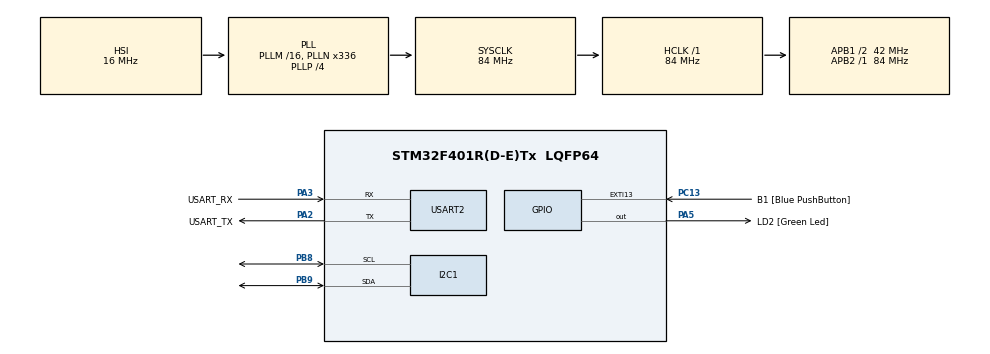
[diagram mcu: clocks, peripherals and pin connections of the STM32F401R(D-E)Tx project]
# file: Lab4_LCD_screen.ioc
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Mcu.Family=STM32F4
Mcu.Name=STM32F401R(D-E)Tx
Mcu.Package=LQFP64
NVIC.PriorityGroup=NVIC_PRIORITYGROUP_0
NVIC.TIM2_IRQn=true\:0\:0\:false\:false\:true\:true\:true\:true
PA13.GPIO_Label=TMS
PA13.Mode=Serial_Wire
PA13.Signal=SYS_JTMS-SWDIO
PA14.GPIO_Label=TCK
PA14.Mode=Serial_Wire
PA14.Signal=SYS_JTCK-SWCLK
PA2.GPIO_Label=USART_TX
PA2.GPIO_Mode=GPIO_MODE_AF_PP
PA2.GPIO_PuPd=GPIO_NOPULL
PA2.GPIO_Speed=GPIO_SPEED_FREQ_LOW
PA2.Mode=Asynchronous
PA2.Signal=USART2_TX
PA3.GPIO_Label=USART_RX
PA3.GPIO_Mode=GPIO_MODE_AF_PP
PA3.GPIO_PuPd=GPIO_NOPULL
PA3.GPIO_Speed=GPIO_SPEED_FREQ_LOW
PA3.Mode=Asynchronous
PA3.Signal=USART2_RX
PA5.GPIO_Label=LD2 [Green Led]
PA5.GPIO_Mode=GPIO_MODE_OUTPUT_PP
PA5.GPIO_PuPd=GPIO_NOPULL
PA5.GPIO_Speed=GPIO_SPEED_FREQ_LOW
PA5.Signal=GPIO_Output
PB3.GPIO_Label=SWO
PB3.Signal=SYS_JTDO-SWO
PB8.Mode=I2C
PB8.Signal=I2C1_SCL
PB9.Mode=I2C
PB9.Signal=I2C1_SDA
PC13-ANTI_TAMP.GPIO_Label=B1 [Blue PushButton]
PC13-ANTI_TAMP.GPIO_ModeDefaultEXTI=GPIO_MODE_IT_FALLING
PC13-ANTI_TAMP.GPIO_PuPd=GPIO_NOPULL
PC13-ANTI_TAMP.Signal=GPXTI13
PC14-OSC32_IN.Mode=LSE-External-Oscillator
PC14-OSC32_IN.Signal=RCC_OSC32_IN
PC15-OSC32_OUT.Mode=LSE-External-Oscillator
PC15-OSC32_OUT.Signal=RCC_OSC32_OUT
PH0\ -\ OSC_IN.Mode=HSE-External-Clock-Source
PH0\ -\ OSC_IN.Signal=RCC_OSC_IN
PH1\ -\ OSC_OUT.Mode=HSE-External-Clock-Source
PH1\ -\ OSC_OUT.Signal=RCC_OSC_OUT
ProjectManager.HeapSize=0x200
ProjectManager.StackSize=0x400
ProjectManager.TargetToolchain=STM32CubeIDE
RCC.48MHZClocksFreq_Value=48000000
RCC.AHBFreq_Value=84000000
RCC.APB1CLKDivider=RCC_HCLK_DIV2
RCC.APB1Freq_Value=42000000
RCC.APB1TimFreq_Value=84000000
RCC.APB2Freq_Value=84000000
RCC.APB2TimFreq_Value=84000000
RCC.CortexFreq_Value=84000000
RCC.HCLKFreq_Value=84000000
RCC.HSE_VALUE=8000000
RCC.HSI_VALUE=16000000
RCC.PLLN=336
RCC.PLLP=RCC_PLLP_DIV4
RCC.PLLQ=7
RCC.SYSCLKFreq_VALUE=84000000
RCC.SYSCLKSource=RCC_SYSCLKSOURCE_PLLCLK
RCC.VCOOutputFreq_Value=336000000
TIM2.Period=84000-1
TIM2.Prescaler=1000-1
TIM5.Period=0xffffffff
TIM5.Prescaler=83
USART2.VirtualMode=VM_ASYNC
VP_TIM2_VS_ClockSourceINT.Mode=Internal
VP_TIM5_VS_ClockSourceINT.Mode=Internal
board=NUCLEO-F401RE

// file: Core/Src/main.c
/* USER CODE BEGIN Header */
/**
  ******************************************************************************
  * @file           : main.c
  * @brief          : Main program body
  ******************************************************************************
  * @attention
  *
  * Copyright (c) 2024 STMicroelectronics.
  * All rights reserved.
  *
  * This software is licensed under terms that can be found in the LICENSE file
  * in the root directory of this software component.
  * If no LICENSE file comes with this software, it is provided AS-IS.
  *
  ******************************************************************************
  */
/* USER CODE END Header */
#include "main.h"

/* USER CODE BEGIN Includes */
#include <string.h>
#include <stdio.h>
#include "lcd.h"

/* USER CODE END Includes */

I2C_HandleTypeDef hi2c1;

TIM_HandleTypeDef htim2;
TIM_HandleTypeDef htim5;

UART_HandleTypeDef huart2;

/* USER CODE BEGIN PV */
TextLCDType hlcd;

/* USER CODE END PV */

void SystemClock_Config(void);
static void MX_GPIO_Init(void);
static void MX_USART2_UART_Init(void);
static void MX_TIM2_Init(void);
static void MX_I2C1_Init(void);
static void MX_TIM5_Init(void);
/* USER CODE BEGIN PFP */
uint8_t tick_flag = 0;
/* USER CODE END PFP */

/* USER CODE BEGIN 0 */
struct clock_data
{
	uint8_t hrs;
	uint8_t min;
	uint8_t sec;

};

void cd_set(struct clock_data * pcd,
			uint8_t hrs,
			uint8_t min,
			uint8_t sec )
{
	pcd->sec = sec;
	pcd->min = min;
	pcd->hrs = hrs;
}

struct clock_data my_clock;

void cd_tick(struct clock_data * pcd)
{
	pcd->sec++;
	if (pcd->sec >= 60)
	{
		pcd->sec = 0;
		pcd->min++;
		if (pcd->min >= 60)
		{
			pcd->min = 0;
			pcd->hrs++;
			if (pcd->hrs >= 24)
			{
				pcd->hrs = 0;
			}
		}
	}

}
void DisplayTimeOnLCD(TextLCDType *hlcd,struct clock_data * pcd )
{
	char timeString[15];
	 snprintf(timeString, sizeof(timeString), "%02d:%02d:%02d",
			 pcd->hrs, pcd->min, pcd->sec);
	TextLCD_Position(hlcd, 4,1);
	TextLCD_PutStr(hlcd, timeString);
}

void HAL_TIM_PeriodElapsedCallback(TIM_HandleTypeDef *htim)
{

	if (htim->Instance == TIM2)
	{
		tick_flag++;
	}
}

void uart_print_cd(UART_HandleTypeDef * huart,
					struct clock_data * pcd)
{
	char buffer[20];
	sprintf(buffer, "\r%02d:%02d:%02d", pcd->hrs, pcd->min, pcd->sec);
	HAL_UART_Transmit(huart, (uint8_t *)buffer, strlen(buffer), HAL_MAX_DELAY);
}

int is_button_pressed() {

	// Kontrollera knappens tillstånd
	return (HAL_GPIO_ReadPin(B1_GPIO_Port, B1_Pin) == GPIO_PIN_RESET) ? 1 : 0;

}

void wait_for_button_press()
{
	while(!is_button_pressed())
	{
		 __NOP();
	}
}

/* USER CODE END 0 */

int main(void)
{

  /* MCU Configuration--------------------------------------------------------*/

  /* Reset of all peripherals, Initializes the Flash interface and the Systick. */
  HAL_Init();

  /* Configure the system clock */
  SystemClock_Config();

  /* Initialize all configured peripherals */
  MX_GPIO_Init();
  MX_USART2_UART_Init();
  MX_TIM2_Init();
  MX_I2C1_Init();
  MX_TIM5_Init();
  /* USER CODE BEGIN 2 */
  cd_set (&my_clock, 23,59,45);
  HAL_TIM_Base_Start_IT(&htim2);
  TextLCD_Init(&hlcd, &hi2c1,0x4E);
  TextLCD_Clear(&hlcd);
  TextLCD_PutStr(&hlcd, "Hello World");

  char c = 0;
  const char ASCII_CAPITAL_OFFSET = 'A';
  const char LETTERS_TOTAL = 'Z' - 'A';

  /* USER CODE END 2 */

  /* Infinite loop */
  /* USER CODE BEGIN WHILE */
	while (1)
	{

		// My_Delay(5000000);

		 My_Delay(3000000);
		if (tick_flag>0)
		{
			tick_flag--;
			cd_tick(&my_clock);
			DisplayTimeOnLCD(&hlcd,&my_clock);

		}

		/*for (int i = 0; i < 5; i++)
		{
			wait_for_button_press();
			TextLCD_PutChar(&hlcd, c + ASCII_CAPITAL_OFFSET);
			HAL_Delay(500);
			c = (c + 1) % LETTERS_TOTAL;
		}*/
    /* USER CODE END WHILE */

	}
}

void SystemClock_Config(void)
{
  RCC_OscInitTypeDef RCC_OscInitStruct = {0};
  RCC_ClkInitTypeDef RCC_ClkInitStruct = {0};

  /** Configure the main internal regulator output voltage
  */
  __HAL_RCC_PWR_CLK_ENABLE();
  __HAL_PWR_VOLTAGESCALING_CONFIG(PWR_REGULATOR_VOLTAGE_SCALE2);

  /** Initializes the RCC Oscillators according to the specified parameters
  * in the RCC_OscInitTypeDef structure.
  */
  RCC_OscInitStruct.OscillatorType = RCC_OSCILLATORTYPE_HSI;
  RCC_OscInitStruct.HSIState = RCC_HSI_ON;
  RCC_OscInitStruct.HSICalibrationValue = RCC_HSICALIBRATION_DEFAULT;
  RCC_OscInitStruct.PLL.PLLState = RCC_PLL_ON;
  RCC_OscInitStruct.PLL.PLLSource = RCC_PLLSOURCE_HSI;
  RCC_OscInitStruct.PLL.PLLM = 16;
  RCC_OscInitStruct.PLL.PLLN = 336;
  RCC_OscInitStruct.PLL.PLLP = RCC_PLLP_DIV4;
  RCC_OscInitStruct.PLL.PLLQ = 7;
  if (HAL_RCC_OscConfig(&RCC_OscInitStruct) != HAL_OK)
  {
    Error_Handler();
  }

  /** Initializes the CPU, AHB and APB buses clocks
  */
  RCC_ClkInitStruct.ClockType = RCC_CLOCKTYPE_HCLK|RCC_CLOCKTYPE_SYSCLK
                              |RCC_CLOCKTYPE_PCLK1|RCC_CLOCKTYPE_PCLK2;
  RCC_ClkInitStruct.SYSCLKSource = RCC_SYSCLKSOURCE_PLLCLK;
  RCC_ClkInitStruct.AHBCLKDivider = RCC_SYSCLK_DIV1;
  RCC_ClkInitStruct.APB1CLKDivider = RCC_HCLK_DIV2;
  RCC_ClkInitStruct.APB2CLKDivider = RCC_HCLK_DIV1;

  if (HAL_RCC_ClockConfig(&RCC_ClkInitStruct, FLASH_LATENCY_2) != HAL_OK)
  {
    Error_Handler();
  }
}

static void MX_I2C1_Init(void)
{

  hi2c1.Instance = I2C1;
  hi2c1.Init.ClockSpeed = 100000;
  hi2c1.Init.DutyCycle = I2C_DUTYCYCLE_2;
  hi2c1.Init.OwnAddress1 = 0;
  hi2c1.Init.AddressingMode = I2C_ADDRESSINGMODE_7BIT;
  hi2c1.Init.DualAddressMode = I2C_DUALADDRESS_DISABLE;
  hi2c1.Init.OwnAddress2 = 0;
  hi2c1.Init.GeneralCallMode = I2C_GENERALCALL_DISABLE;
  hi2c1.Init.NoStretchMode = I2C_NOSTRETCH_DISABLE;
  if (HAL_I2C_Init(&hi2c1) != HAL_OK)
  {
    Error_Handler();
  }

}

static void MX_TIM2_Init(void)
{

  TIM_ClockConfigTypeDef sClockSourceConfig = {0};
  TIM_MasterConfigTypeDef sMasterConfig = {0};

  htim2.Instance = TIM2;
  htim2.Init.Prescaler = 1000-1;
  htim2.Init.CounterMode = TIM_COUNTERMODE_UP;
  htim2.Init.Period = 84000-1;
  htim2.Init.ClockDivision = TIM_CLOCKDIVISION_DIV1;
  htim2.Init.AutoReloadPreload = TIM_AUTORELOAD_PRELOAD_DISABLE;
  if (HAL_TIM_Base_Init(&htim2) != HAL_OK)
  {
    Error_Handler();
  }
  sClockSourceConfig.ClockSource = TIM_CLOCKSOURCE_INTERNAL;
  if (HAL_TIM_ConfigClockSource(&htim2, &sClockSourceConfig) != HAL_OK)
  {
    Error_Handler();
  }
  sMasterConfig.MasterOutputTrigger = TIM_TRGO_RESET;
  sMasterConfig.MasterSlaveMode = TIM_MASTERSLAVEMODE_DISABLE;
  if (HAL_TIMEx_MasterConfigSynchronization(&htim2, &sMasterConfig) != HAL_OK)
  {
    Error_Handler();
  }

}

static void MX_TIM5_Init(void)
{

  TIM_ClockConfigTypeDef sClockSourceConfig = {0};
  TIM_MasterConfigTypeDef sMasterConfig = {0};

  htim5.Instance = TIM5;
  htim5.Init.Prescaler = 83;
  htim5.Init.CounterMode = TIM_COUNTERMODE_UP;
  htim5.Init.Period = 0xffffffff;
  htim5.Init.ClockDivision = TIM_CLOCKDIVISION_DIV1;
  htim5.Init.AutoReloadPreload = TIM_AUTORELOAD_PRELOAD_DISABLE;
  if (HAL_TIM_Base_Init(&htim5) != HAL_OK)
  {
    Error_Handler();
  }
  sClockSourceConfig.ClockSource = TIM_CLOCKSOURCE_INTERNAL;
  if (HAL_TIM_ConfigClockSource(&htim5, &sClockSourceConfig) != HAL_OK)
  {
    Error_Handler();
  }
  sMasterConfig.MasterOutputTrigger = TIM_TRGO_RESET;
  sMasterConfig.MasterSlaveMode = TIM_MASTERSLAVEMODE_DISABLE;
  if (HAL_TIMEx_MasterConfigSynchronization(&htim5, &sMasterConfig) != HAL_OK)
  {
    Error_Handler();
  }

}

static void MX_USART2_UART_Init(void)
{

  huart2.Instance = USART2;
  huart2.Init.BaudRate = 115200;
  huart2.Init.WordLength = UART_WORDLENGTH_8B;
  huart2.Init.StopBits = UART_STOPBITS_1;
  huart2.Init.Parity = UART_PARITY_NONE;
  huart2.Init.Mode = UART_MODE_TX_RX;
  huart2.Init.HwFlowCtl = UART_HWCONTROL_NONE;
  huart2.Init.OverSampling = UART_OVERSAMPLING_16;
  if (HAL_UART_Init(&huart2) != HAL_OK)
  {
    Error_Handler();
  }

}

static void MX_GPIO_Init(void)
{
  GPIO_InitTypeDef GPIO_InitStruct = {0};

  /* GPIO Ports Clock Enable */
  __HAL_RCC_GPIOC_CLK_ENABLE();
  __HAL_RCC_GPIOH_CLK_ENABLE();
  __HAL_RCC_GPIOA_CLK_ENABLE();
  __HAL_RCC_GPIOB_CLK_ENABLE();

  /*Configure GPIO pin Output Level */
  HAL_GPIO_WritePin(LD2_GPIO_Port, LD2_Pin, GPIO_PIN_RESET);

  /*Configure GPIO pin : B1_Pin */
  GPIO_InitStruct.Pin = B1_Pin;
  GPIO_InitStruct.Mode = GPIO_MODE_IT_FALLING;
  GPIO_InitStruct.Pull = GPIO_NOPULL;
  HAL_GPIO_Init(B1_GPIO_Port, &GPIO_InitStruct);

  /*Configure GPIO pin : LD2_Pin */
  GPIO_InitStruct.Pin = LD2_Pin;
  GPIO_InitStruct.Mode = GPIO_MODE_OUTPUT_PP;
  GPIO_InitStruct.Pull = GPIO_NOPULL;
  GPIO_InitStruct.Speed = GPIO_SPEED_FREQ_LOW;
  HAL_GPIO_Init(LD2_GPIO_Port, &GPIO_InitStruct);

}

void Error_Handler(void)
{
  __disable_irq();
  while (1)
  {
  }
}
